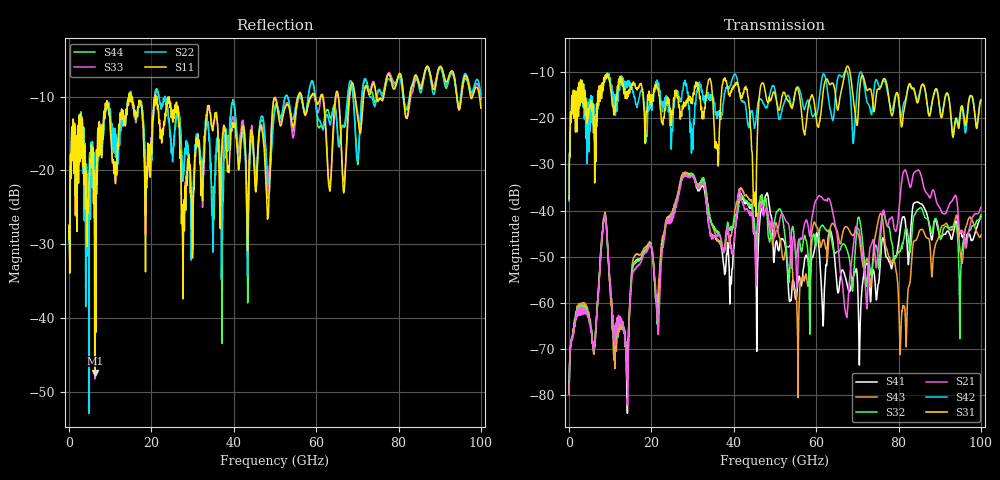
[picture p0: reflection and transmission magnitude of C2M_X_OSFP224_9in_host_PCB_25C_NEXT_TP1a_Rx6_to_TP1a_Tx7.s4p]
# GHz S RI R 45
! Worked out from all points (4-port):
!   4000 points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, 25 MHz to 100 GHz, reference 45 ohm
!   strongest paths, dB at 25 MHz, 25.02 GHz, 50.02 GHz, 75.03 GHz, 100 GHz:
!     S31: -37.5, -18.4, -14.8, -13.7, -16.1
!     S42: -37.9, -22.2, -13.8, -12.5, -15.9
!     S21: -79.6, -42.3, -45.5, -48.8, -39.2
!     S32: -78.7, -41.5, -41.7, -50.4, -40.9
!     S43: -79.8, -40.9, -43.3, -42.4, -45.3
!     S41: -79.3, -41.8, -48.1, -56.0, -41.2
!   lowest |S11| = -47.5 dB at 6.25 GHz (marker M1), VSWR 1.01, Z = 44.8 + j0.345 ohm
!   |S11| at or under -10 dB: start of sweep to 14.53 GHz; 15.02 GHz to 20.91 GHz (5.888 GHz wide, 32.8 % of centre); 21.02 GHz to 55.63 GHz (34.61 GHz wide, 90.3 % of centre) (the widest 3 of 14)
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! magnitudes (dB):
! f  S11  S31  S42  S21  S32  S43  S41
! 25 MHz  -29.3  -37.5  -37.9  -79.6  -78.7  -79.8  -79.3
! 6.25 GHz  -47.5  -33.5  -20.6  -68.7  -68.5  -69.1  -69.5
! 8.575 GHz  -12.6  -12.0  -11.6  -41.9  -41.6  -41.3  -41.6
! 14 GHz  -12.3  -15.7  -13.1  -75.6  -73.0  -72.0  -77.9
! 28.05 GHz  -27.0  -17.3  -12.5  -32.4  -32.2  -31.7  -32.0
! 55.48 GHz  -10.3  -13.5  -13.2  -54.8  -48.0  -66.0  -56.3
! 100 GHz  -11.6  -16.1  -15.9  -39.2  -40.9  -45.3  -41.2
